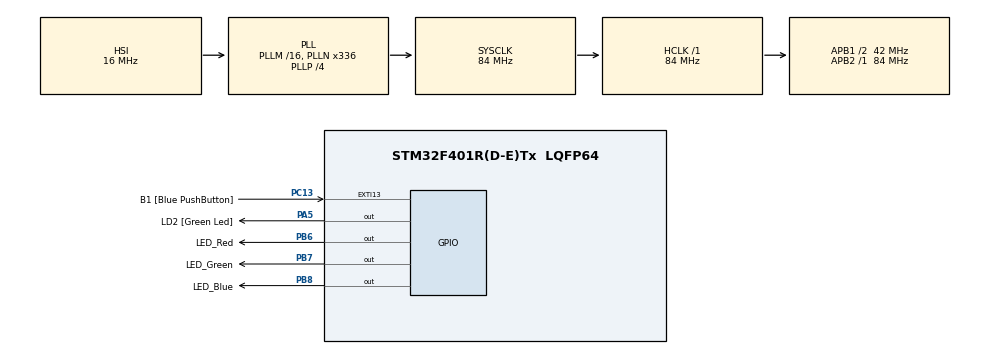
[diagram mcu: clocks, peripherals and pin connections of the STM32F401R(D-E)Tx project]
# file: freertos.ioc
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FREERTOS.Tasks01=defaultTask,0,128,StartDefaultTask,Default,NULL
Mcu.Family=STM32F4
Mcu.Name=STM32F401R(D-E)Tx
Mcu.Package=LQFP64
NVIC.PriorityGroup=NVIC_PRIORITYGROUP_4
NVIC.TIM1_TRG_COM_TIM11_IRQn=true\:0\:0\:false\:false\:true\:false\:true
NVIC.TimeBase=TIM1_TRG_COM_TIM11_IRQn
NVIC.TimeBaseIP=TIM11
PA13.GPIO_Label=TMS
PA13.Signal=SYS_JTMS-SWDIO
PA14.GPIO_Label=TCK
PA14.Signal=SYS_JTCK-SWCLK
PA2.GPIO_Label=USART_TX
PA2.GPIO_Mode=GPIO_MODE_AF_PP
PA2.GPIO_PuPd=GPIO_NOPULL
PA2.GPIO_Speed=GPIO_SPEED_FREQ_LOW
PA2.Signal=USART2_TX
PA3.GPIO_Label=USART_RX
PA3.GPIO_Mode=GPIO_MODE_AF_PP
PA3.GPIO_PuPd=GPIO_NOPULL
PA3.GPIO_Speed=GPIO_SPEED_FREQ_LOW
PA3.Signal=USART2_RX
PA5.GPIO_Label=LD2 [Green Led]
PA5.GPIO_Mode=GPIO_MODE_OUTPUT_PP
PA5.GPIO_PuPd=GPIO_NOPULL
PA5.GPIO_Speed=GPIO_SPEED_FREQ_LOW
PA5.Signal=GPIO_Output
PB3.GPIO_Label=SWO
PB3.Signal=SYS_JTDO-SWO
PB6.GPIO_Label=LED_Red
PB6.Signal=GPIO_Output
PB7.GPIO_Label=LED_Green
PB7.Signal=GPIO_Output
PB8.GPIO_Label=LED_Blue
PB8.Signal=GPIO_Output
PC13-ANTI_TAMP.GPIO_Label=B1 [Blue PushButton]
PC13-ANTI_TAMP.GPIO_ModeDefaultEXTI=GPIO_MODE_IT_FALLING
PC13-ANTI_TAMP.GPIO_PuPd=GPIO_NOPULL
PC13-ANTI_TAMP.Signal=GPXTI13
PC14-OSC32_IN.Signal=RCC_OSC32_IN
PC15-OSC32_OUT.Signal=RCC_OSC32_OUT
PH0\ -\ OSC_IN.Signal=RCC_OSC_IN
PH1\ -\ OSC_OUT.Signal=RCC_OSC_OUT
ProjectManager.HeapSize=0x200
ProjectManager.StackSize=0x400
ProjectManager.TargetToolchain=TrueSTUDIO
RCC.AHBFreq_Value=84000000
RCC.APB1CLKDivider=RCC_HCLK_DIV2
RCC.APB1Freq_Value=42000000
RCC.APB1TimFreq_Value=84000000
RCC.APB2Freq_Value=84000000
RCC.APB2TimFreq_Value=84000000
RCC.CortexFreq_Value=84000000
RCC.HCLKFreq_Value=84000000
RCC.HSE_VALUE=8000000
RCC.HSI_VALUE=16000000
RCC.LSE_VALUE=32768
RCC.PLLN=336
RCC.PLLP=RCC_PLLP_DIV4
RCC.PLLQ=7
RCC.SYSCLKFreq_VALUE=84000000
RCC.SYSCLKSource=RCC_SYSCLKSOURCE_PLLCLK
RCC.VCOOutputFreq_Value=336000000
VP_FREERTOS_VS_ENABLE.Mode=Enabled
VP_SYS_VS_tim11.Mode=TIM11
board=NUCLEO-F401RE

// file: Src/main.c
/**
  ******************************************************************************
  * @file           : main.c
  * @brief          : Main program body
  ******************************************************************************
  * This notice applies to any and all portions of this file
  * that are not between comment pairs USER CODE BEGIN and
  * USER CODE END. Other portions of this file, whether
  * inserted by the user or by software development tools
  * are owned by their respective copyright owners.
  *
  * Copyright (c) 2018 STMicroelectronics International N.V.
  * All rights reserved.
  *
  * Redistribution and use in source and binary forms, with or without
  * modification, are permitted, provided that the following conditions are met:
  *
  * 1. Redistribution of source code must retain the above copyright notice,
  *    this list of conditions and the following disclaimer.
  * 2. Redistributions in binary form must reproduce the above copyright notice,
  *    this list of conditions and the following disclaimer in the documentation
  *    and/or other materials provided with the distribution.
  * 3. Neither the name of STMicroelectronics nor the names of other
  *    contributors to this software may be used to endorse or promote products
  *    derived from this software without specific written permission.
  * 4. This software, including modifications and/or derivative works of this
  *    software, must execute solely and exclusively on microcontroller or
  *    microprocessor devices manufactured by or for STMicroelectronics.
  * 5. Redistribution and use of this software other than as permitted under
  *    this license is void and will automatically terminate your rights under
  *    this license.
  *
  * THIS SOFTWARE IS PROVIDED BY STMICROELECTRONICS AND CONTRIBUTORS "AS IS"
  * AND ANY EXPRESS, IMPLIED OR STATUTORY WARRANTIES, INCLUDING, BUT NOT
  * LIMITED TO, THE IMPLIED WARRANTIES OF MERCHANTABILITY, FITNESS FOR A
  * PARTICULAR PURPOSE AND NON-INFRINGEMENT OF THIRD PARTY INTELLECTUAL PROPERTY
  * RIGHTS ARE DISCLAIMED TO THE FULLEST EXTENT PERMITTED BY LAW. IN NO EVENT
  * SHALL STMICROELECTRONICS OR CONTRIBUTORS BE LIABLE FOR ANY DIRECT, INDIRECT,
  * INCIDENTAL, SPECIAL, EXEMPLARY, OR CONSEQUENTIAL DAMAGES (INCLUDING, BUT NOT
  * LIMITED TO, PROCUREMENT OF SUBSTITUTE GOODS OR SERVICES; LOSS OF USE, DATA,
  * OR PROFITS; OR BUSINESS INTERRUPTION) HOWEVER CAUSED AND ON ANY THEORY OF
  * LIABILITY, WHETHER IN CONTRACT, STRICT LIABILITY, OR TORT (INCLUDING
  * NEGLIGENCE OR OTHERWISE) ARISING IN ANY WAY OUT OF THE USE OF THIS SOFTWARE,
  * EVEN IF ADVISED OF THE POSSIBILITY OF SUCH DAMAGE.
  *
  ******************************************************************************
  */
#include "main.h"
#include "stm32f4xx_hal.h"
#include "cmsis_os.h"
#include "gpio.h"

/* USER CODE BEGIN Includes */
#include "semphr.h"
#include <stdbool.h>
/* USER CODE END Includes */

SemaphoreHandle_t LEDMutex;
SemaphoreHandle_t BlueSemaphore;
SemaphoreHandle_t RedSemaphore;
SemaphoreHandle_t GreenSemaphore;
SemaphoreHandle_t prioInvers;
/* USER CODE BEGIN PV */
/* Private variables ---------------------------------------------------------*/

/* USER CODE END PV */

void SystemClock_Config(void);
void MX_FREERTOS_Init(void);

/* USER CODE BEGIN PFP */
/* Private function prototypes -----------------------------------------------*/

void Delay_Nonsense(uint32_t * DelayCounter, uint32_t const * TargetCount){
	while(*DelayCounter <= *TargetCount){
		*DelayCounter = *DelayCounter + 1;
	}
	*DelayCounter = 0;
}

//mutex *********************
/*
	void Led_BlueBlink(void *pvParameters){
		const TickType_t xDelay = 500 / portTICK_PERIOD_MS;
		uint32_t BlueDelay = 0;
		const uint32_t TargetCount = 160000;

		for(;;){

			for(int i = 0; i < 10; i++){
				vTaskDelay(xDelay);
			}
			if(xSemaphoreTake(LEDMutex, (TickType_t ) 10) == pdTRUE){
				  HAL_GPIO_WritePin(LED_Blue_GPIO_Port, LED_Blue_Pin, GPIO_PIN_RESET);
				  Delay_Nonsense(&BlueDelay, &TargetCount);
				  vTaskDelay(xDelay);
				  HAL_GPIO_WritePin(LED_Blue_GPIO_Port, LED_Blue_Pin, GPIO_PIN_SET);
				  Delay_Nonsense(&BlueDelay, &TargetCount);
				  vTaskDelay(xDelay);
				  xSemaphoreGive(LEDMutex);
			}
		}
	}
	void Led_RedBlink(void *pvParameters){
		const TickType_t xDelay = 100 / portTICK_PERIOD_MS;
		uint32_t RedDelay = 0;
		const uint32_t TargetCount = 160000;

		for(;;){
			for(int i = 0; i < 10; i++){
				vTaskDelay(xDelay);
			}
			if(xSemaphoreTake(LEDMutex, (TickType_t ) 10) == pdTRUE){
				  HAL_GPIO_WritePin(LED_Red_GPIO_Port, LED_Red_Pin, GPIO_PIN_RESET);
				  Delay_Nonsense(&RedDelay, &TargetCount);
				  vTaskDelay(xDelay);
				  HAL_GPIO_WritePin(LED_Red_GPIO_Port, LED_Red_Pin, GPIO_PIN_SET);
				  Delay_Nonsense(&RedDelay, &TargetCount);
				  vTaskDelay(xDelay);
				  xSemaphoreGive(LEDMutex);
			}
		}
	}
	void Led_GreenBlink(void *pvParameters){
		const TickType_t xDelay = 250 / portTICK_PERIOD_MS;
		uint32_t GreenDelay = 0;
		const uint32_t TargetCount = 200000;

		for(;;){
			for(int i = 0; i < 10; i++){
				vTaskDelay(xDelay);
			}
			if(xSemaphoreTake(LEDMutex, (TickType_t ) 10) == pdTRUE){
				  HAL_GPIO_WritePin(LED_Green_GPIO_Port, LED_Green_Pin, GPIO_PIN_RESET);
				  Delay_Nonsense(&GreenDelay, &TargetCount);
				  vTaskDelay(xDelay);
				  HAL_GPIO_WritePin(LED_Green_GPIO_Port, LED_Green_Pin, GPIO_PIN_SET);
				  Delay_Nonsense(&GreenDelay, &TargetCount);
				  vTaskDelay(xDelay);
				  xSemaphoreGive(LEDMutex);
			}
		}
	}
*/

	//mutex end***************

	void Led_BlueBlink(void *pvParameters){
		xSemaphoreGive(GreenSemaphore);
		const TickType_t xDelay = 300 / portTICK_PERIOD_MS;
		uint32_t BlueDelay = 0;
		const uint32_t TargetCount = 160000;
		bool LedState = false;
		 xSemaphoreGive(RedSemaphore);
		for(;;){

			if(xSemaphoreTake(RedSemaphore, (TickType_t) 100) == pdTRUE){

				if(LedState == false){
					 HAL_GPIO_WritePin(LED_Green_GPIO_Port, LED_Blue_Pin, GPIO_PIN_RESET);
				}else{
					HAL_GPIO_WritePin(LED_Green_GPIO_Port, LED_Blue_Pin, GPIO_PIN_SET);
				}
				LedState ^= 1;
				Delay_Nonsense(&BlueDelay, &TargetCount);
				vTaskDelay(xDelay);
				xSemaphoreGive(BlueSemaphore);
			}

		}
	}
	void Led_RedBlink(void *pvParameters){
		const TickType_t xDelay = 300 / portTICK_PERIOD_MS;
		uint32_t RedDelay = 0;
		const uint32_t TargetCount = 160000;
		bool LedState = false;
		for(;;){

			if(xSemaphoreTake(GreenSemaphore, (TickType_t) 100) == pdTRUE){

				if(LedState == false){
					 HAL_GPIO_WritePin(LED_Green_GPIO_Port, LED_Red_Pin, GPIO_PIN_RESET);
				}else{
					HAL_GPIO_WritePin(LED_Green_GPIO_Port, LED_Red_Pin, GPIO_PIN_SET);
				}
				LedState ^= 1;
				Delay_Nonsense(&RedDelay, &TargetCount);
				vTaskDelay(xDelay);
				  xSemaphoreGive(RedSemaphore);
			}

		}
	}
	void Led_GreenBlink(void *pvParameters){
		const TickType_t xDelay = 300 / portTICK_PERIOD_MS;
		uint32_t GreenDelay = 0;
		const uint32_t TargetCount = 160000;
		bool LedState = false;
		for(;;){

			if(xSemaphoreTake(BlueSemaphore, (TickType_t) 100) == pdTRUE){

				if(LedState == false){
					 HAL_GPIO_WritePin(LED_Green_GPIO_Port, LED_Green_Pin, GPIO_PIN_RESET);
				}else{
					HAL_GPIO_WritePin(LED_Green_GPIO_Port, LED_Green_Pin, GPIO_PIN_SET);
				}
				LedState ^= 1;
				Delay_Nonsense(&GreenDelay, &TargetCount);
				vTaskDelay(xDelay);
				xSemaphoreGive(GreenSemaphore);
			}

		}
	}

/*
void Led_BlueBlink(void *pvParameters){
	const TickType_t xDelay = 500 / portTICK_PERIOD_MS;
	uint32_t BlueDelay = 0;
	const uint32_t TargetCount = 160000;
	bool LedState = false;
	for(;;){

		if(!(xSemaphoreTake(prioInvers, (TickType_t) 10) == pdTRUE)){

			  HAL_GPIO_WritePin(LED_Blue_GPIO_Port, LED_Blue_Pin, GPIO_PIN_RESET);
			  Delay_Nonsense(&BlueDelay, &TargetCount);
			  vTaskDelay(xDelay);
			  HAL_GPIO_WritePin(LED_Blue_GPIO_Port, LED_Blue_Pin, GPIO_PIN_SET);
			  Delay_Nonsense(&BlueDelay, &TargetCount);
			  vTaskDelay(xDelay);
			  xSemaphoreGive(prioInvers);
		}

	}
}
void Led_RedBlink(void *pvParameters){
	const TickType_t xDelay = 100 / portTICK_PERIOD_MS;
	uint32_t RedDelay = 0;
	const uint32_t TargetCount = 160000;
	bool LedState = false;

	for(;;){

		if(xSemaphoreTake(prioInvers, (TickType_t) 10) == pdTRUE){

			if(LedState == false){
				 HAL_GPIO_WritePin(LED_Green_GPIO_Port, LED_Red_Pin, GPIO_PIN_RESET);
			}else{
				HAL_GPIO_WritePin(LED_Green_GPIO_Port, LED_Red_Pin, GPIO_PIN_SET);
			}
			LedState ^= 1;
			Delay_Nonsense(&RedDelay, &TargetCount);
			vTaskDelay(xDelay);
		}

	}
}
void Led_GreenBlink(void *pvParameters){
	const TickType_t xDelay = 250 / portTICK_PERIOD_MS;
	uint32_t GreenDelay = 0;
	const uint32_t TargetCount = 200000;
	bool LedState = false;
	for(;;){

		HAL_GPIO_WritePin(LED_Green_GPIO_Port, LED_Green_Pin, GPIO_PIN_RESET);
		Delay_Nonsense(&GreenDelay, &TargetCount);
		vTaskDelay(xDelay);
		HAL_GPIO_WritePin(LED_Green_GPIO_Port, LED_Green_Pin, GPIO_PIN_SET);
		Delay_Nonsense(&GreenDelay, &TargetCount);
		vTaskDelay(xDelay);

	}
}
*/
/*
void Led_BlueBlink(void *pvParameters){
	const TickType_t xDelay = 500 / portTICK_PERIOD_MS;
	uint32_t BlueDelay = 0;
	const uint32_t TargetCount = 160000;

	for(;;){

		for(int i = 0; i < 10; i++){
			vTaskDelay(xDelay);
		}
		if(xSemaphoreTake(LEDMutex, (TickType_t ) 10) == pdTRUE){
			  HAL_GPIO_WritePin(LED_Blue_GPIO_Port, LED_Blue_Pin, GPIO_PIN_RESET);
			  Delay_Nonsense(&BlueDelay, &TargetCount);
			  vTaskDelay(xDelay);
			  HAL_GPIO_WritePin(LED_Blue_GPIO_Port, LED_Blue_Pin, GPIO_PIN_SET);
			  Delay_Nonsense(&BlueDelay, &TargetCount);
			  vTaskDelay(xDelay);
			  xSemaphoreGive(LEDMutex);
		}
	}
}
void Led_RedBlink(void *pvParameters){
	const TickType_t xDelay = 100 / portTICK_PERIOD_MS;
	uint32_t RedDelay = 0;
	const uint32_t TargetCount = 160000;

	for(;;){
		for(int i = 0; i < 10; i++){
			vTaskDelay(xDelay);
		}
		if(xSemaphoreTake(LEDMutex, (TickType_t ) 10) == pdTRUE){
			  HAL_GPIO_WritePin(LED_Red_GPIO_Port, LED_Red_Pin, GPIO_PIN_RESET);
			  Delay_Nonsense(&RedDelay, &TargetCount);
			  vTaskDelay(xDelay);
			  HAL_GPIO_WritePin(LED_Red_GPIO_Port, LED_Red_Pin, GPIO_PIN_SET);
			  Delay_Nonsense(&RedDelay, &TargetCount);
			  vTaskDelay(xDelay);
			  xSemaphoreGive(LEDMutex);
		}
	}
}
void Led_GreenBlink(void *pvParameters){
	const TickType_t xDelay = 250 / portTICK_PERIOD_MS;
	uint32_t GreenDelay = 0;
	const uint32_t TargetCount = 200000;

	for(;;){

			  HAL_GPIO_WritePin(LED_Green_GPIO_Port, LED_Green_Pin, GPIO_PIN_RESET);
			  Delay_Nonsense(&GreenDelay, &TargetCount);
			  vTaskDelay(xDelay);
			  HAL_GPIO_WritePin(LED_Green_GPIO_Port, LED_Green_Pin, GPIO_PIN_SET);
			  Delay_Nonsense(&GreenDelay, &TargetCount);
			  vTaskDelay(xDelay);

	}
}*/
/* USER CODE END PFP */

int main(void)
{

  /* MCU Configuration----------------------------------------------------------*/

  /* Reset of all peripherals, Initializes the Flash interface and the Systick. */
  HAL_Init();

  /* Configure the system clock */
  SystemClock_Config();

  /* Initialize all configured peripherals */
  MX_GPIO_Init();
  /* USER CODE BEGIN 2 */

	HAL_GPIO_WritePin(LED_Green_GPIO_Port, LED_Green_Pin, GPIO_PIN_SET);
	HAL_GPIO_WritePin(LED_Red_GPIO_Port, LED_Red_Pin, GPIO_PIN_SET);
	HAL_GPIO_WritePin(LED_Blue_GPIO_Port, LED_Blue_Pin, GPIO_PIN_SET);

	 xTaskCreate(Led_GreenBlink, (const char* const)"led_green", configMINIMAL_STACK_SIZE, 0, 2, 0);
	 xTaskCreate(Led_RedBlink, (const char* const)"led_red", configMINIMAL_STACK_SIZE, 0, 3, 0);
	 xTaskCreate(Led_BlueBlink, (const char* const)"led_blue", configMINIMAL_STACK_SIZE, 0, 1, 0);
	 LEDMutex = xSemaphoreCreateMutex();

	 BlueSemaphore = xSemaphoreCreateBinary();
	 RedSemaphore = xSemaphoreCreateBinary();
	 GreenSemaphore = xSemaphoreCreateBinary();

	 prioInvers = xSemaphoreCreateBinary();

  /* USER CODE END 2 */

  /* Call init function for freertos objects (in freertos.c) */
  MX_FREERTOS_Init();

  /* Start scheduler */
  osKernelStart();

  /* We should never get here as control is now taken by the scheduler */

  /* Infinite loop */
  while (1)
  {

  }

}

void SystemClock_Config(void)
{

  RCC_OscInitTypeDef RCC_OscInitStruct;
  RCC_ClkInitTypeDef RCC_ClkInitStruct;

    /**Configure the main internal regulator output voltage
    */
  __HAL_RCC_PWR_CLK_ENABLE();

  __HAL_PWR_VOLTAGESCALING_CONFIG(PWR_REGULATOR_VOLTAGE_SCALE2);

    /**Initializes the CPU, AHB and APB busses clocks
    */
  RCC_OscInitStruct.OscillatorType = RCC_OSCILLATORTYPE_HSI;
  RCC_OscInitStruct.HSIState = RCC_HSI_ON;
  RCC_OscInitStruct.HSICalibrationValue = 16;
  RCC_OscInitStruct.PLL.PLLState = RCC_PLL_ON;
  RCC_OscInitStruct.PLL.PLLSource = RCC_PLLSOURCE_HSI;
  RCC_OscInitStruct.PLL.PLLM = 16;
  RCC_OscInitStruct.PLL.PLLN = 336;
  RCC_OscInitStruct.PLL.PLLP = RCC_PLLP_DIV4;
  RCC_OscInitStruct.PLL.PLLQ = 7;
  if (HAL_RCC_OscConfig(&RCC_OscInitStruct) != HAL_OK)
  {
    _Error_Handler(__FILE__, __LINE__);
  }

    /**Initializes the CPU, AHB and APB busses clocks
    */
  RCC_ClkInitStruct.ClockType = RCC_CLOCKTYPE_HCLK|RCC_CLOCKTYPE_SYSCLK
                              |RCC_CLOCKTYPE_PCLK1|RCC_CLOCKTYPE_PCLK2;
  RCC_ClkInitStruct.SYSCLKSource = RCC_SYSCLKSOURCE_PLLCLK;
  RCC_ClkInitStruct.AHBCLKDivider = RCC_SYSCLK_DIV1;
  RCC_ClkInitStruct.APB1CLKDivider = RCC_HCLK_DIV2;
  RCC_ClkInitStruct.APB2CLKDivider = RCC_HCLK_DIV1;

  if (HAL_RCC_ClockConfig(&RCC_ClkInitStruct, FLASH_LATENCY_2) != HAL_OK)
  {
    _Error_Handler(__FILE__, __LINE__);
  }

    /**Configure the Systick interrupt time
    */
  HAL_SYSTICK_Config(HAL_RCC_GetHCLKFreq()/1000);

    /**Configure the Systick
    */
  HAL_SYSTICK_CLKSourceConfig(SYSTICK_CLKSOURCE_HCLK);

  /* SysTick_IRQn interrupt configuration */
  HAL_NVIC_SetPriority(SysTick_IRQn, 15, 0);
}

void HAL_TIM_PeriodElapsedCallback(TIM_HandleTypeDef *htim)
{
  if (htim->Instance == TIM11) {
    HAL_IncTick();
  }
}

void _Error_Handler(char *file, int line)
{
  while(1)
  {
  }
}

/************************ (C) COPYRIGHT STMicroelectronics *****END OF FILE****/
